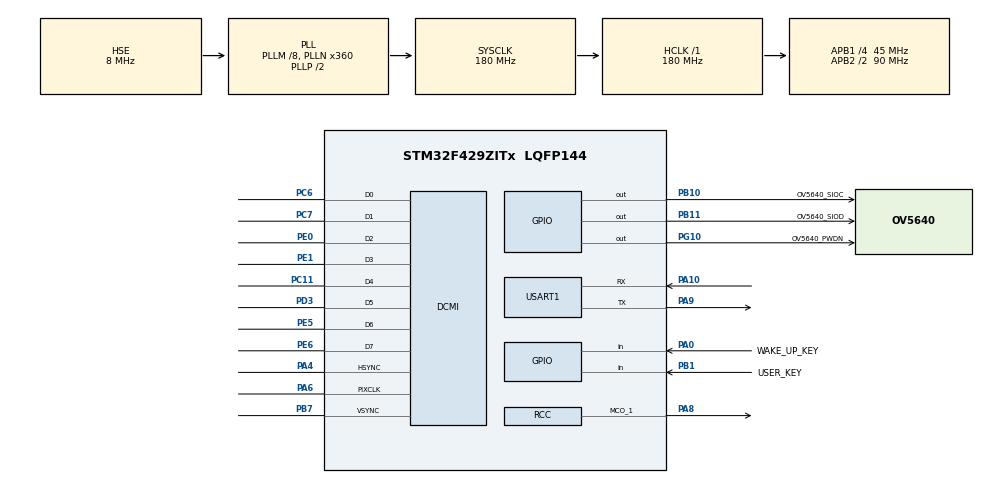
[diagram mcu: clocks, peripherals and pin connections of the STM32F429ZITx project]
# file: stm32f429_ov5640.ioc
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DCMI.JPEGMode=DCMI_JPEG_ENABLE
DCMI.PCKPolarity=DCMI_PCKPOLARITY_RISING
Dma.DCMI.0.Direction=DMA_PERIPH_TO_MEMORY
Dma.DCMI.0.FIFOMode=DMA_FIFOMODE_ENABLE
Dma.DCMI.0.FIFOThreshold=DMA_FIFO_THRESHOLD_FULL
Dma.DCMI.0.Instance=DMA2_Stream1
Dma.DCMI.0.MemBurst=DMA_MBURST_SINGLE
Dma.DCMI.0.MemDataAlignment=DMA_MDATAALIGN_WORD
Dma.DCMI.0.MemInc=DMA_MINC_ENABLE
Dma.DCMI.0.Mode=DMA_CIRCULAR
Dma.DCMI.0.PeriphBurst=DMA_PBURST_SINGLE
Dma.DCMI.0.PeriphDataAlignment=DMA_PDATAALIGN_WORD
Dma.DCMI.0.PeriphInc=DMA_PINC_DISABLE
Dma.DCMI.0.Priority=DMA_PRIORITY_VERY_HIGH
Dma.Request0=DCMI
Dma.Request1=USART1_RX
Dma.Request2=USART1_TX
Dma.USART1_RX.1.Direction=DMA_PERIPH_TO_MEMORY
Dma.USART1_RX.1.FIFOMode=DMA_FIFOMODE_DISABLE
Dma.USART1_RX.1.Instance=DMA2_Stream2
Dma.USART1_RX.1.MemDataAlignment=DMA_MDATAALIGN_BYTE
Dma.USART1_RX.1.MemInc=DMA_MINC_ENABLE
Dma.USART1_RX.1.Mode=DMA_NORMAL
Dma.USART1_RX.1.PeriphDataAlignment=DMA_PDATAALIGN_BYTE
Dma.USART1_RX.1.PeriphInc=DMA_PINC_DISABLE
Dma.USART1_RX.1.Priority=DMA_PRIORITY_LOW
Dma.USART1_TX.2.Direction=DMA_MEMORY_TO_PERIPH
Dma.USART1_TX.2.FIFOMode=DMA_FIFOMODE_ENABLE
Dma.USART1_TX.2.FIFOThreshold=DMA_FIFO_THRESHOLD_FULL
Dma.USART1_TX.2.Instance=DMA2_Stream7
Dma.USART1_TX.2.MemBurst=DMA_MBURST_SINGLE
Dma.USART1_TX.2.MemDataAlignment=DMA_MDATAALIGN_BYTE
Dma.USART1_TX.2.MemInc=DMA_MINC_ENABLE
Dma.USART1_TX.2.Mode=DMA_NORMAL
Dma.USART1_TX.2.PeriphBurst=DMA_PBURST_SINGLE
Dma.USART1_TX.2.PeriphDataAlignment=DMA_PDATAALIGN_BYTE
Dma.USART1_TX.2.PeriphInc=DMA_PINC_DISABLE
Dma.USART1_TX.2.Priority=DMA_PRIORITY_HIGH
Mcu.Family=STM32F4
Mcu.Name=STM32F429ZITx
Mcu.Package=LQFP144
NVIC.DCMI_IRQn=true\:0\:0\:false\:false\:true\:true\:true
NVIC.DMA2_Stream1_IRQn=true\:0\:0\:false\:false\:true\:false\:true
NVIC.DMA2_Stream2_IRQn=true\:0\:0\:false\:false\:true\:false\:true
NVIC.DMA2_Stream7_IRQn=true\:0\:0\:false\:false\:true\:false\:true
NVIC.PriorityGroup=NVIC_PRIORITYGROUP_0
NVIC.TIM1_UP_TIM10_IRQn=true\:0\:0\:false\:false\:true\:false\:true
NVIC.TimeBase=TIM1_UP_TIM10_IRQn
NVIC.TimeBaseIP=TIM1
NVIC.USART1_IRQn=true\:0\:0\:false\:false\:true\:true\:true
PA0/WKUP.GPIO_Label=WAKE_UP_KEY
PA0/WKUP.GPIO_PuPd=GPIO_PULLUP
PA0/WKUP.Signal=GPIO_Input
PA10.Mode=Asynchronous
PA10.Signal=USART1_RX
PA13.Mode=Serial_Wire
PA13.Signal=SYS_JTMS-SWDIO
PA14.Mode=Serial_Wire
PA14.Signal=SYS_JTCK-SWCLK
PA4.Mode=Slave_8_bits_External_Synchro
PA4.Signal=DCMI_HSYNC
PA6.Mode=Slave_8_bits_External_Synchro
PA6.Signal=DCMI_PIXCLK
PA8.Mode=Clock-out-1
PA8.Signal=RCC_MCO_1
PA9.Mode=Asynchronous
PA9.Signal=USART1_TX
PB1.GPIO_Label=USER_KEY
PB1.GPIO_PuPd=GPIO_PULLUP
PB1.Signal=GPIO_Input
PB10.GPIO_Label=OV5640_SIOC
PB10.GPIO_ModeDefaultOutputPP=GPIO_MODE_OUTPUT_OD
PB10.GPIO_PuPd=GPIO_PULLUP
PB10.GPIO_Speed=GPIO_SPEED_FREQ_VERY_HIGH
PB10.PinState=GPIO_PIN_SET
PB10.Signal=GPIO_Output
PB11.GPIO_Label=OV5640_SIOD
PB11.GPIO_ModeDefaultOutputPP=GPIO_MODE_OUTPUT_OD
PB11.GPIO_PuPd=GPIO_PULLUP
PB11.GPIO_Speed=GPIO_SPEED_FREQ_VERY_HIGH
PB11.PinState=GPIO_PIN_SET
PB11.Signal=GPIO_Output
PB7.Mode=Slave_8_bits_External_Synchro
PB7.Signal=DCMI_VSYNC
PC11.Mode=Slave_8_bits_External_Synchro
PC11.Signal=DCMI_D4
PC6.Mode=Slave_8_bits_External_Synchro
PC6.Signal=DCMI_D0
PC7.Mode=Slave_8_bits_External_Synchro
PC7.Signal=DCMI_D1
PD3.Mode=Slave_8_bits_External_Synchro
PD3.Signal=DCMI_D5
PE0.Mode=Slave_8_bits_External_Synchro
PE0.Signal=DCMI_D2
PE1.Mode=Slave_8_bits_External_Synchro
PE1.Signal=DCMI_D3
PE5.Mode=Slave_8_bits_External_Synchro
PE5.Signal=DCMI_D6
PE6.Mode=Slave_8_bits_External_Synchro
PE6.Signal=DCMI_D7
PG10.GPIO_Label=OV5640_PWDN
PG10.GPIO_Speed=GPIO_SPEED_FREQ_HIGH
PG10.PinState=GPIO_PIN_SET
PG10.Signal=GPIO_Output
PH0/OSC_IN.Mode=HSE-External-Oscillator
PH0/OSC_IN.Signal=RCC_OSC_IN
PH1/OSC_OUT.Mode=HSE-External-Oscillator
PH1/OSC_OUT.Signal=RCC_OSC_OUT
ProjectManager.HeapSize=0x200
ProjectManager.StackSize=0x800
ProjectManager.TargetToolchain=STM32CubeIDE
RCC.48MHZClocksFreq_Value=51428571.428571425
RCC.AHBFreq_Value=180000000
RCC.APB1CLKDivider=RCC_HCLK_DIV4
RCC.APB1Freq_Value=45000000
RCC.APB1TimFreq_Value=90000000
RCC.APB2CLKDivider=RCC_HCLK_DIV2
RCC.APB2Freq_Value=90000000
RCC.APB2TimFreq_Value=180000000
RCC.CortexFreq_Value=180000000
RCC.HCLKFreq_Value=180000000
RCC.HSE_VALUE=8000000
RCC.HSI_VALUE=16000000
RCC.LSE_VALUE=32768
RCC.PLLM=8
RCC.PLLN=360
RCC.PLLQ=7
RCC.PLLSourceVirtual=RCC_PLLSOURCE_HSE
RCC.SYSCLKFreq_VALUE=180000000
RCC.SYSCLKSource=RCC_SYSCLKSOURCE_PLLCLK
RCC.VCOOutputFreq_Value=360000000
USART1.VirtualMode=VM_ASYNC
VP_SYS_VS_tim1.Mode=TIM1
board=STM32F429I-DISC1

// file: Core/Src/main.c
/* USER CODE BEGIN Header */
/**
  ******************************************************************************
  * @file           : main.c
  * @brief          : Main program body
  ******************************************************************************
  * @attention
  *
  * <h2><center>&copy; Copyright (c) 2020 STMicroelectronics.
  * All rights reserved.</center></h2>
  *
  * This software component is licensed by ST under BSD 3-Clause license,
  * the "License"; You may not use this file except in compliance with the
  * License. You may obtain a copy of the License at:
  *                        opensource.org/licenses/BSD-3-Clause
  *
  ******************************************************************************
  */
/* USER CODE END Header */
#include "main.h"

/* USER CODE BEGIN Includes */
#include <stdio.h>
#include "ov5640.h"

/* USER CODE END Includes */

DCMI_HandleTypeDef hdcmi;
DMA_HandleTypeDef hdma_dcmi;

UART_HandleTypeDef huart1;
DMA_HandleTypeDef hdma_usart1_rx;
DMA_HandleTypeDef hdma_usart1_tx;

/* USER CODE BEGIN PV */

/* USER CODE BEGIN PV */
int __io_putchar(int ch) {
	uint8_t temp = (uint8_t)ch;
	HAL_UART_Transmit(&huart1, &temp, 1, 10);
	return ch;
}
/* USER CODE END PV */

void SystemClock_Config(void);
static void MX_GPIO_Init(void);
static void MX_DMA_Init(void);
static void MX_DCMI_Init(void);
static void MX_USART1_UART_Init(void);

int main(void)
{

  /* MCU Configuration--------------------------------------------------------*/

  /* Reset of all peripherals, Initializes the Flash interface and the Systick. */
  HAL_Init();

  /* Configure the system clock */
  SystemClock_Config();

  /* Initialize all configured peripherals */
  MX_GPIO_Init();
  MX_DMA_Init();
  MX_DCMI_Init();
  MX_USART1_UART_Init();
  /* USER CODE BEGIN 2 */

  printf("Duvitech 2020 \r\n");
  printf("Initializing, please wait ...\r\n");

  while(OV5640_Init())
  {
          printf("OV5640 error, please check !\r\n");
          // BSP_LCD_Clear(LCD_COLOR_WHITE);
          // HAL_Delay(200);
          // BSP_LCD_DisplayStringAt(0, 60, (uint8_t *)"OV5640 error, please check !", CENTER_MODE);
          HAL_Delay(300);
          Error_Handler();
  }

  printf("Initialized OV5640\r\n");

  OV5640_RGB565_Mode();
  OV5640_Light_Mode(0);	   //set auto
  OV5640_Color_Saturation(3); //default
  OV5640_Brightness(4);	//default
  OV5640_Contrast(3);     //default
  OV5640_Sharpness(33);	//set auto

  jpeg_test(QVGA_320_240);

  /* USER CODE END 2 */

  /* Infinite loop */
  while (1)
  {

  }
}

void SystemClock_Config(void)
{
  RCC_OscInitTypeDef RCC_OscInitStruct = {0};
  RCC_ClkInitTypeDef RCC_ClkInitStruct = {0};

  /** Configure the main internal regulator output voltage
  */
  __HAL_RCC_PWR_CLK_ENABLE();
  __HAL_PWR_VOLTAGESCALING_CONFIG(PWR_REGULATOR_VOLTAGE_SCALE1);
  /** Initializes the RCC Oscillators according to the specified parameters
  * in the RCC_OscInitTypeDef structure.
  */
  RCC_OscInitStruct.OscillatorType = RCC_OSCILLATORTYPE_HSI|RCC_OSCILLATORTYPE_HSE;
  RCC_OscInitStruct.HSEState = RCC_HSE_ON;
  RCC_OscInitStruct.HSIState = RCC_HSI_ON;
  RCC_OscInitStruct.HSICalibrationValue = RCC_HSICALIBRATION_DEFAULT;
  RCC_OscInitStruct.PLL.PLLState = RCC_PLL_ON;
  RCC_OscInitStruct.PLL.PLLSource = RCC_PLLSOURCE_HSE;
  RCC_OscInitStruct.PLL.PLLM = 8;
  RCC_OscInitStruct.PLL.PLLN = 360;
  RCC_OscInitStruct.PLL.PLLP = RCC_PLLP_DIV2;
  RCC_OscInitStruct.PLL.PLLQ = 7;
  if (HAL_RCC_OscConfig(&RCC_OscInitStruct) != HAL_OK)
  {
    Error_Handler();
  }
  /** Activate the Over-Drive mode
  */
  if (HAL_PWREx_EnableOverDrive() != HAL_OK)
  {
    Error_Handler();
  }
  /** Initializes the CPU, AHB and APB buses clocks
  */
  RCC_ClkInitStruct.ClockType = RCC_CLOCKTYPE_HCLK|RCC_CLOCKTYPE_SYSCLK
                              |RCC_CLOCKTYPE_PCLK1|RCC_CLOCKTYPE_PCLK2;
  RCC_ClkInitStruct.SYSCLKSource = RCC_SYSCLKSOURCE_PLLCLK;
  RCC_ClkInitStruct.AHBCLKDivider = RCC_SYSCLK_DIV1;
  RCC_ClkInitStruct.APB1CLKDivider = RCC_HCLK_DIV4;
  RCC_ClkInitStruct.APB2CLKDivider = RCC_HCLK_DIV2;

  if (HAL_RCC_ClockConfig(&RCC_ClkInitStruct, FLASH_LATENCY_5) != HAL_OK)
  {
    Error_Handler();
  }
  HAL_RCC_MCOConfig(RCC_MCO1, RCC_MCO1SOURCE_HSI, RCC_MCODIV_1);
}

static void MX_DCMI_Init(void)
{

  hdcmi.Instance = DCMI;
  hdcmi.Init.SynchroMode = DCMI_SYNCHRO_HARDWARE;
  hdcmi.Init.PCKPolarity = DCMI_PCKPOLARITY_RISING;
  hdcmi.Init.VSPolarity = DCMI_VSPOLARITY_LOW;
  hdcmi.Init.HSPolarity = DCMI_HSPOLARITY_LOW;
  hdcmi.Init.CaptureRate = DCMI_CR_ALL_FRAME;
  hdcmi.Init.ExtendedDataMode = DCMI_EXTEND_DATA_8B;
  hdcmi.Init.JPEGMode = DCMI_JPEG_ENABLE;
  if (HAL_DCMI_Init(&hdcmi) != HAL_OK)
  {
    Error_Handler();
  }

}

static void MX_USART1_UART_Init(void)
{

  huart1.Instance = USART1;
  huart1.Init.BaudRate = 115200;
  huart1.Init.WordLength = UART_WORDLENGTH_8B;
  huart1.Init.StopBits = UART_STOPBITS_1;
  huart1.Init.Parity = UART_PARITY_NONE;
  huart1.Init.Mode = UART_MODE_TX_RX;
  huart1.Init.HwFlowCtl = UART_HWCONTROL_NONE;
  huart1.Init.OverSampling = UART_OVERSAMPLING_16;
  if (HAL_UART_Init(&huart1) != HAL_OK)
  {
    Error_Handler();
  }

}

static void MX_DMA_Init(void)
{

  /* DMA controller clock enable */
  __HAL_RCC_DMA2_CLK_ENABLE();

  /* DMA interrupt init */
  /* DMA2_Stream1_IRQn interrupt configuration */
  HAL_NVIC_SetPriority(DMA2_Stream1_IRQn, 0, 0);
  HAL_NVIC_EnableIRQ(DMA2_Stream1_IRQn);
  /* DMA2_Stream2_IRQn interrupt configuration */
  HAL_NVIC_SetPriority(DMA2_Stream2_IRQn, 0, 0);
  HAL_NVIC_EnableIRQ(DMA2_Stream2_IRQn);
  /* DMA2_Stream7_IRQn interrupt configuration */
  HAL_NVIC_SetPriority(DMA2_Stream7_IRQn, 0, 0);
  HAL_NVIC_EnableIRQ(DMA2_Stream7_IRQn);

}

static void MX_GPIO_Init(void)
{
  GPIO_InitTypeDef GPIO_InitStruct = {0};

  /* GPIO Ports Clock Enable */
  __HAL_RCC_GPIOE_CLK_ENABLE();
  __HAL_RCC_GPIOH_CLK_ENABLE();
  __HAL_RCC_GPIOA_CLK_ENABLE();
  __HAL_RCC_GPIOB_CLK_ENABLE();
  __HAL_RCC_GPIOC_CLK_ENABLE();
  __HAL_RCC_GPIOD_CLK_ENABLE();
  __HAL_RCC_GPIOG_CLK_ENABLE();

  /*Configure GPIO pin Output Level */
  HAL_GPIO_WritePin(GPIOB, OV5640_SIOC_Pin|OV5640_SIOD_Pin, GPIO_PIN_SET);

  /*Configure GPIO pin Output Level */
  HAL_GPIO_WritePin(OV5640_PWDN_GPIO_Port, OV5640_PWDN_Pin, GPIO_PIN_SET);

  /*Configure GPIO pin : WAKE_UP_KEY_Pin */
  GPIO_InitStruct.Pin = WAKE_UP_KEY_Pin;
  GPIO_InitStruct.Mode = GPIO_MODE_INPUT;
  GPIO_InitStruct.Pull = GPIO_PULLUP;
  HAL_GPIO_Init(WAKE_UP_KEY_GPIO_Port, &GPIO_InitStruct);

  /*Configure GPIO pin : USER_KEY_Pin */
  GPIO_InitStruct.Pin = USER_KEY_Pin;
  GPIO_InitStruct.Mode = GPIO_MODE_INPUT;
  GPIO_InitStruct.Pull = GPIO_PULLUP;
  HAL_GPIO_Init(USER_KEY_GPIO_Port, &GPIO_InitStruct);

  /*Configure GPIO pins : OV5640_SIOC_Pin OV5640_SIOD_Pin */
  GPIO_InitStruct.Pin = OV5640_SIOC_Pin|OV5640_SIOD_Pin;
  GPIO_InitStruct.Mode = GPIO_MODE_OUTPUT_OD;
  GPIO_InitStruct.Pull = GPIO_PULLUP;
  GPIO_InitStruct.Speed = GPIO_SPEED_FREQ_VERY_HIGH;
  HAL_GPIO_Init(GPIOB, &GPIO_InitStruct);

  /*Configure GPIO pin : PA8 */
  GPIO_InitStruct.Pin = GPIO_PIN_8;
  GPIO_InitStruct.Mode = GPIO_MODE_AF_PP;
  GPIO_InitStruct.Pull = GPIO_NOPULL;
  GPIO_InitStruct.Speed = GPIO_SPEED_FREQ_LOW;
  GPIO_InitStruct.Alternate = GPIO_AF0_MCO;
  HAL_GPIO_Init(GPIOA, &GPIO_InitStruct);

  /*Configure GPIO pin : OV5640_PWDN_Pin */
  GPIO_InitStruct.Pin = OV5640_PWDN_Pin;
  GPIO_InitStruct.Mode = GPIO_MODE_OUTPUT_PP;
  GPIO_InitStruct.Pull = GPIO_NOPULL;
  GPIO_InitStruct.Speed = GPIO_SPEED_FREQ_HIGH;
  HAL_GPIO_Init(OV5640_PWDN_GPIO_Port, &GPIO_InitStruct);

}

void HAL_TIM_PeriodElapsedCallback(TIM_HandleTypeDef *htim)
{
  if (htim->Instance == TIM1) {
    HAL_IncTick();
  }
}

void Error_Handler(void)
{
}

/************************ (C) COPYRIGHT STMicroelectronics *****END OF FILE****/
